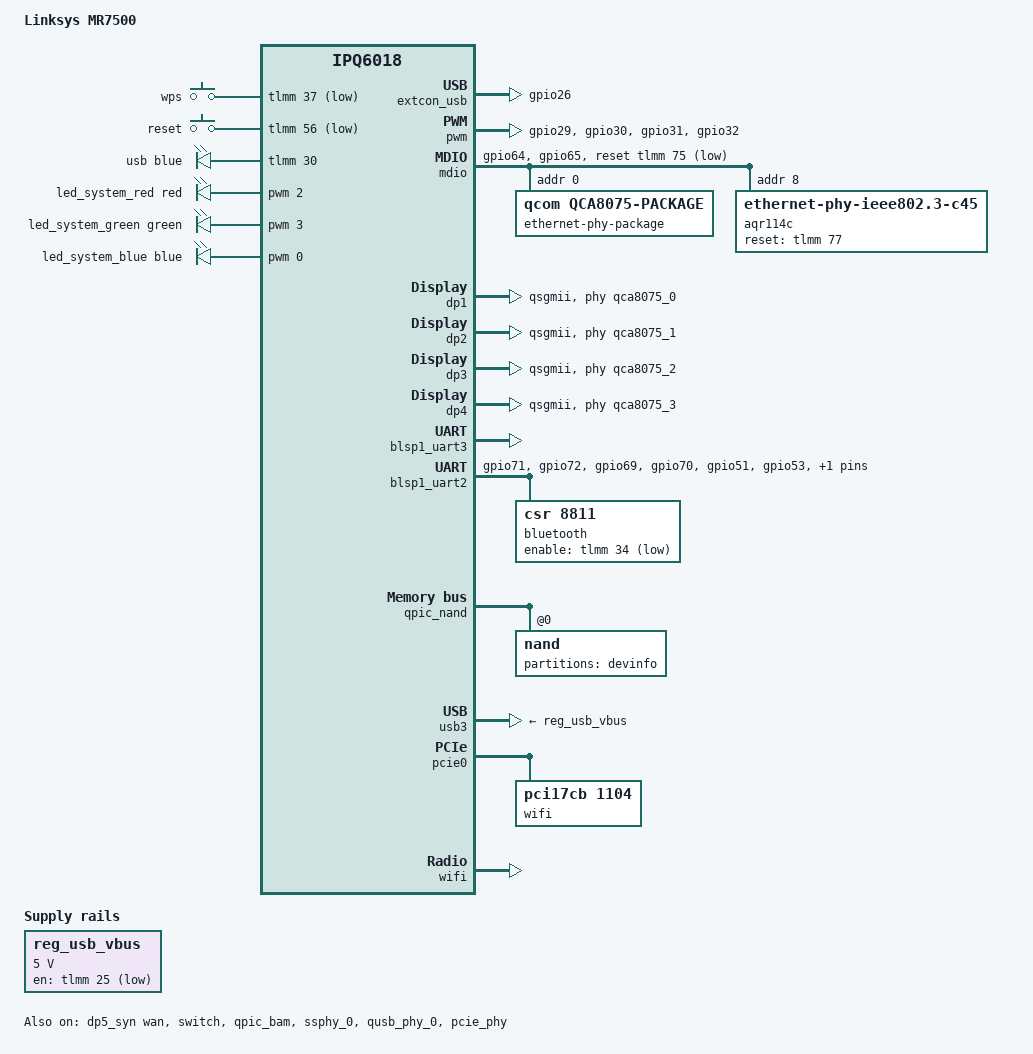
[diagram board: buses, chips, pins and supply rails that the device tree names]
// SPDX-License-Identifier: GPL-2.0-or-later OR MIT
// Copyright 2024 Weikai Kong (priv at pppig236.com)

/dts-v1/;

#include "ipq6018-512m.dtsi"
#include "ipq6018-cp-cpu.dtsi"
#include "ipq6018-ess.dtsi"
#include <dt-bindings/gpio/gpio.h>
#include <dt-bindings/input/input.h>
#include <dt-bindings/leds/common.h>

/ {
	model = "Linksys MR7500";
	compatible = "linksys,mr7500", "qcom,ipq6018";
	
	aliases {
		serial0 = &blsp1_uart3;
		serial1 = &blsp1_uart2;

		led-boot = &led_system_blue;
		led-running = &led_system_blue;
		led-failsafe = &led_system_red;
		led-upgrade = &led_system_green;

		label-mac-device = &dp5_syn;
	};
	
	chosen {
		stdout-path = "serial0:115200n8";
		bootargs-append = " root=/dev/ubiblock0_0";
	};
	
	extcon_usb {
		pinctrl-0 = <&extcon_usb_pins>;
		pinctrl-names = "default";
		id-gpio = <&tlmm 26 GPIO_ACTIVE_LOW>;
		status = "okay";
	};
	
	gpio_keys {
		compatible = "gpio-keys";
		pinctrl-0 = <&button_pins>;
		pinctrl-names = "default";
		
		wps {
			label = "wps";
			linux,code = <KEY_WPS_BUTTON>;
			gpios = <&tlmm 37 GPIO_ACTIVE_LOW>;
		};

		reset {
			label = "reset";
			linux,code = <KEY_RESTART>;
			gpios = <&tlmm 56 GPIO_ACTIVE_LOW>;
		};
	};
	
	leds {
		compatible = "pwm-leds";
		
		usb {
			color = <LED_COLOR_ID_BLUE>;
			function = LED_FUNCTION_USB;
			gpios = <&tlmm 30 GPIO_ACTIVE_HIGH>;
			pwms = <&pwm 1 650000>;
			max-brightness = <255>;
			trigger-sources = <&usb3_port1>, <&usb3_port2>;
			linux,default-trigger = "usbport";
		};
		
		led_system_red: red {
			color = <LED_COLOR_ID_RED>;
			function = LED_FUNCTION_INDICATOR;
			pwms = <&pwm 2 1250000>;
			max-brightness = <255>;
			panic-indicator;
		};
		
		led_system_green: green {
			color = <LED_COLOR_ID_GREEN>;
			function = LED_FUNCTION_INDICATOR;
			pwms = <&pwm 3 1250000>;
			max-brightness = <255>;
		};
		
		led_system_blue: blue {
			color = <LED_COLOR_ID_BLUE>;
			function = LED_FUNCTION_POWER;
			pwms = <&pwm 0 1250000>;
			max-brightness = <255>;
		};
	};
	
	reg_usb_vbus: regulator-usb-vbus {
		compatible = "regulator-fixed";
		regulator-name = "usb_vbus";
		regulator-min-microvolt = <5000000>;
		regulator-max-microvolt = <5000000>;
		gpio = <&tlmm 25 GPIO_ACTIVE_LOW>;
	};
};

&tlmm {
	pwm_pins: pwm_pinmux {
		/*LED_B*/
		mux_0 {
			pins = "gpio29";
			function = "pwm03";
			drive-strength = <8>;
			bias-pull-up;
		};
		
		/*LED_USB*/
		mux_1 {
			pins = "gpio30";
			function = "pwm13";
			drive-strength = <8>;
			bias-pull-down;
		};
		
		/*LED_R*/
		mux_2 {
			pins = "gpio31";
			function = "pwm23";
			drive-strength = <8>;
			bias-pull-down;
		};
		
		/*LED_G*/
		mux_3 {
			pins = "gpio32";
			function = "pwm33";
			drive-strength = <8>;
			bias-pull-down;
		};
	};
	
	extcon_usb_pins: extcon_usb_pins {
		pins = "gpio26";
		function = "gpio";
		drive-strength = <2>;
		bias-pull-down;
	};
	
	button_pins: button_pins {
		wps_button {
			pins = "gpio37";
			function = "gpio";
			drive-strength = <8>;
			bias-pull-up;
		};
		reset_button {
			pins = "gpio56";
			function = "gpio";
			drive-strength = <8>;
			bias-pull-up;
		};
	};

	mdio_pins: mdio_pinmux {
		mux_0 {
			pins = "gpio64";
			function = "mdc";
			drive-strength = <8>;
			bias-pull-up;
		};
		mux_1 {
			pins = "gpio65";
			function = "mdio";
			drive-strength = <8>;
			bias-pull-up;
		};
	};

	hsuart_pins: hsuart_pins {
		pins = "gpio71", "gpio72", "gpio69", "gpio70";
		function = "blsp1_uart";
		drive-strength = <8>;
		bias-disable;
	};

	btcoex_pins: btcoex_pins {
		mux_0 {
			pins = "gpio51";
			function = "pta1_1";
			drive-strength = <6>;
			bias-pull-down;
		};
		mux_1 {
			pins = "gpio53";
			function = "pta1_0";
			drive-strength = <6>;
			bias-pull-down;
		};
		mux_2 {
			pins = "gpio52";
			function = "pta1_2";
			drive-strength = <6>;
			bias-pull-down;
		};
	};
};

&pwm {
	pinctrl-0 = <&pwm_pins>;
	pinctrl-names = "default";
	#pwm-cells = <2>;
	status = "okay";
};

&mdio {
	pinctrl-0 = <&mdio_pins>;
	pinctrl-names = "default";
	reset-gpios = <&tlmm 75 GPIO_ACTIVE_LOW>;
	status = "okay";
	
	ethernet-phy-package {
		#address-cells = <1>;
		#size-cells = <0>;
		compatible = "qcom,qca8075-package";
		reg = <0>;

		qcom,package-mode = "qsgmii";
		
		qca8075_0: ethernet-phy@0 {
			compatible = "ethernet-phy-ieee802.3-c22";
			reg = <0>;

			leds {
				#address-cells = <1>;
				#size-cells = <0>;
				
				led@0 {
					reg = <0>;
					color = <LED_COLOR_ID_ORANGE>;
					function = LED_FUNCTION_LAN;
					default-state = "keep";
				};
				
				led@1 {
					reg = <1>;
					color = <LED_COLOR_ID_GREEN>;
					function = LED_FUNCTION_LAN;
					default-state = "keep";
				};
			};
		};

		qca8075_1: ethernet-phy@1 {
			compatible = "ethernet-phy-ieee802.3-c22";
			reg = <1>;

			leds {
				#address-cells = <1>;
				#size-cells = <0>;
				
				led@0 {
					reg = <0>;
					color = <LED_COLOR_ID_ORANGE>;
					function = LED_FUNCTION_LAN;
					default-state = "keep";
				};
				
				led@1 {
					reg = <1>;
					color = <LED_COLOR_ID_GREEN>;
					function = LED_FUNCTION_LAN;
					default-state = "keep";
				};
			};
		};

		qca8075_2: ethernet-phy@2 {
			compatible = "ethernet-phy-ieee802.3-c22";
			reg = <2>;

			leds {
				#address-cells = <1>;
				#size-cells = <0>;
				
				led@0 {
					reg = <0>;
					color = <LED_COLOR_ID_ORANGE>;
					function = LED_FUNCTION_LAN;
					default-state = "keep";
				};
				
				led@1 {
					reg = <1>;
					color = <LED_COLOR_ID_GREEN>;
					function = LED_FUNCTION_LAN;
					default-state = "keep";
				};
			};
		};

		qca8075_3: ethernet-phy@3 {
			compatible = "ethernet-phy-ieee802.3-c22";
			reg = <3>;

			leds {
				#address-cells = <1>;
				#size-cells = <0>;
				
				led@0 {
					reg = <0>;
					color = <LED_COLOR_ID_ORANGE>;
					function = LED_FUNCTION_LAN;
					default-state = "keep";
				};
				
				led@1 {
					reg = <1>;
					color = <LED_COLOR_ID_GREEN>;
					function = LED_FUNCTION_LAN;
					default-state = "keep";
				};
			};
		};
	};

	aqr114c: ethernet-phy@8 {
		reg = <8>;
		reset-gpios = <&tlmm 77 GPIO_ACTIVE_HIGH>;
		compatible = "ethernet-phy-ieee802.3-c45";
		firmware-name = "marvell/AQR114C.cld";

		leds {
			#address-cells = <1>;
			#size-cells = <0>;
			
			led@0 {
				reg = <0>;
				color = <LED_COLOR_ID_ORANGE>;
				function = LED_FUNCTION_WAN;
				default-state = "keep";
			};
			
			led@1 {
				reg = <1>;
				color = <LED_COLOR_ID_GREEN>;
				function = LED_FUNCTION_WAN;
				default-state = "keep";
			};
		};
	};
};

&dp1 {
	status = "okay";
	label = "lan1";
	phy-handle = <&qca8075_0>;
	phy-mode = "qsgmii";
	nvmem-cells = <&hw_mac_addr 1>;
	nvmem-cell-names = "mac-address";
};

&dp2 {
	status = "okay";
	label = "lan2";
	phy-handle = <&qca8075_1>;
	phy-mode = "qsgmii";
	nvmem-cells = <&hw_mac_addr 1>;
	nvmem-cell-names = "mac-address";
};

&dp3 {
	status = "okay";
	label = "lan3";
	phy-handle = <&qca8075_2>;
	phy-mode = "qsgmii";
	nvmem-cells = <&hw_mac_addr 1>;
	nvmem-cell-names = "mac-address";
};

&dp4 {
	status = "okay";
	label = "lan4";
	phy-handle = <&qca8075_3>;
	phy-mode = "qsgmii";
	nvmem-cells = <&hw_mac_addr 1>;
	nvmem-cell-names = "mac-address";
};

&dp5_syn {
	status = "okay";
	label = "wan";
	phy-handle = <&aqr114c>;
	phy-mode = "usxgmii";
	nvmem-cells = <&hw_mac_addr 0>;
	nvmem-cell-names = "mac-address";
};

&edma {
	status = "okay";
};

&switch {
	status = "okay";
	switch_lan_bmp = <( ESS_PORT1 | ESS_PORT2 | ESS_PORT3 | ESS_PORT4 )>;
	switch_wan_bmp = <ESS_PORT5>;
	switch_mac_mode = <MAC_MODE_QSGMII>;
	switch_mac_mode1 = <MAC_MODE_USXGMII>;
	
	qcom,port_phyinfo {
		port@1 {
			port_id = <1>;
			phy_address = <0>;
		};
		port@2 {
			port_id = <2>;
			phy_address = <1>;
		};
		port@3 {
			port_id = <3>;
			phy_address = <2>;
		};
		port@4 {
			port_id = <4>;
			phy_address = <3>;
		};
		port@5 {
			port_id = <5>;
			phy_address = <8>;
			compatible = "ethernet-phy-ieee802.3-c45";
			ethernet-phy-ieee802.3-c45;
		};
	};
};

&blsp1_uart3 {
	pinctrl-0 = <&serial_3_pins>;
	pinctrl-names = "default";
	status = "okay";
};

&blsp1_uart2 {
	pinctrl-0 = <&hsuart_pins &btcoex_pins>;
	pinctrl-names = "default";
	dmas = <&blsp_dma 2>, <&blsp_dma 3>;
	dma-names = "tx", "rx";
	status = "okay";
	bluetooth { // doesn't work
		compatible = "csr,8811";
		enable-gpios = <&tlmm 34 GPIO_ACTIVE_LOW>;
	};
};

&qpic_bam {
	status = "okay";
};

&qpic_nand {
	status = "okay";

	nand@0 {
		reg = <0>;
		nand-ecc-strength = <4>;
		nand-ecc-step-size = <512>;
		nand-bus-width = <8>;

		partitions {
			compatible = "qcom,smem-part";
			#address-cells = <1>;
			#size-cells = <1>;

			partition-0-devinfo {
				label = "devinfo";
				read-only;
				#address-cells = <1>;
				#size-cells = <1>;

				nvmem-layout {
					compatible = "ascii-eq-delim-env";
					#address-cells = <1>;
					#size-cells = <1>;

					hw_mac_addr: hw_mac_addr {
						compatible = "mac-base";
						#nvmem-cell-cells = <1>;
					};
				};
			};
		};
	};
};

&ssphy_0 {
	status = "okay";
};

&dwc_0 {
	#address-cells = <1>;
	#size-cells = <0>;
	
	usb3_port1: port@1 {
		reg = <1>;
		#trigger-source-cells = <0>;
	};
	
	usb3_port2: port@2 {
		reg = <2>;
		#trigger-source-cells = <0>;
	};
};

&qusb_phy_0 {
	status = "okay";
	vdd-supply = <&reg_usb_vbus>;
};

&usb3 {
	status = "okay";
	vbus-supply = <&reg_usb_vbus>;
};

&pcie_phy {
	status = "okay";
};

&pcie0 {
	status = "okay";

	pcie@0 {
		wifi@0,0 {
			status = "okay";
			/* ath11k has no DT compatible for PCI cards */
			compatible = "pci17cb,1104";
			reg = <0x00010000 0 0 0 0>;
			qcom,ath11k-calibration-variant = "Linksys-MR7500";
		};
	};
};

&wifi {
	status = "okay";
	qcom,ath11k-calibration-variant = "Linksys-MR7500";
	qcom,ath11k-fw-memory-mode = <1>;
};
